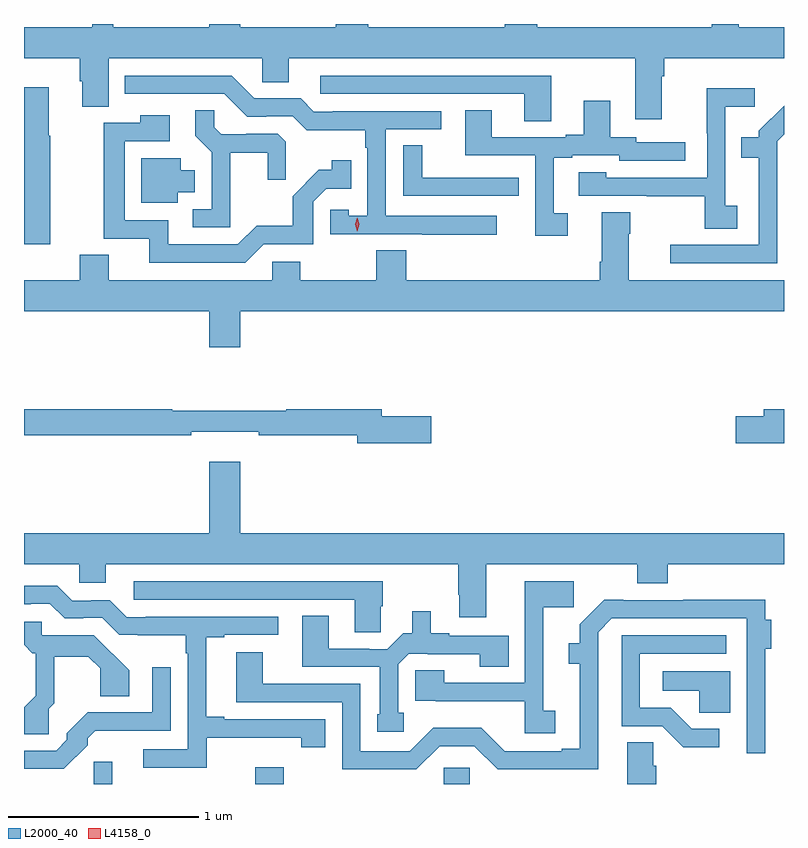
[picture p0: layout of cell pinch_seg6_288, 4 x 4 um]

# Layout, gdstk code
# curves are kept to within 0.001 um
import gdstk
lib = gdstk.Library(unit=1e-6, precision=1e-09)
def R(c, l, rs):  # rectangles x0, y0, x1, y1
    for r in rs: c.add(gdstk.rectangle(r[:2], r[2:], *l))
def P(c, l, *ps):  # polygons
    for p in ps: c.add(gdstk.Polygon(p, *l))
L2000_40 = (2000, 40)
L4158_0 = (4158, 0)

pinch_seg6_288 = lib.new_cell('pinch_seg6_288')
R(pinch_seg6_288, L2000_40, [(787.777,992.8,787.873,992.918), (788.627,992.8,788.775,992.887), (789.618,992.8,789.756,992.886)])
P(pinch_seg6_288, L2000_40, [(790.765,996.524),(790.778,996.524),(790.778,996.62),(791.409,996.62),(791.409,996.784),(791.17,996.784),(791.17,996.8),(791.03,996.8),(791.03,996.784),(790.109,996.784),(790.109,996.8),(789.938,996.8),(789.938,996.784),(789.221,996.784),(789.221,996.8),(789.05,996.8),(789.05,996.784),(788.548,996.784),(788.548,996.8),(788.384,996.8),(788.384,996.784),(787.879,996.784),(787.879,996.8),(787.769,996.8),(787.769,996.784),(787.409,996.784),(787.409,996.62),(787.703,996.62),(787.703,996.498),(787.715,996.498),(787.715,996.364),(787.855,996.364),(787.855,996.62),(788.664,996.62),(788.664,996.493),(788.803,996.493),(788.803,996.62),(790.625,996.62),(790.625,996.3),(790.765,996.3)],
  [(790.183,996.528),(788.967,996.528),(788.967,996.432),(790.043,996.432),(790.043,996.289),(790.183,996.289)],
  [(789.898,995.79),(789.312,995.79),(789.312,996.246),(789.604,996.246),(789.604,996.342),(789.034,996.342),(789.034,996.339),(788.934,996.339),(788.865,996.408),(788.622,996.408),(788.502,996.528),(787.94,996.528),(787.94,996.432),(788.463,996.432),(788.583,996.312),(788.684,996.312),(788.684,996.315),(788.823,996.315),(788.896,996.242),(789.204,996.242),(789.204,996.149),(789.216,996.149),(789.216,995.791),(789.117,995.791),(789.117,995.823),(789.021,995.823),(789.021,995.694),(789.505,995.694),(789.505,995.692),(789.898,995.692)],
  [(787.548,996.213),(787.54,996.213),(787.54,996.466),(787.409,996.466),(787.409,995.64),(787.548,995.64)],
  [(791.164,995.844),(791.1,995.844),(791.1,996.365),(791.254,996.365),(791.254,996.463),(791.002,996.463),(791.002,996.224),(791.004,996.224),(791.004,995.991),(790.473,995.991),(790.473,996.019),(790.329,996.019),(790.329,995.895),(790.687,995.895),(790.687,995.893),(790.992,995.893),(790.992,995.722),(791.164,995.722)],
  [(790.27,995.805),(790.198,995.805),(790.198,996.096),(790.294,996.096),(790.294,996.108),(790.542,996.108),(790.542,996.081),(790.888,996.081),(790.888,996.177),(790.632,996.177),(790.632,996.204),(790.495,996.204),(790.495,996.397),(790.355,996.397),(790.355,996.217),(790.259,996.217),(790.259,996.204),(789.871,996.204),(789.871,996.347),(789.731,996.347),(789.731,996.108),(790.101,996.108),(790.101,995.685),(790.27,995.685)],
  [(791.373,996.183),(791.409,996.219),(791.409,996.369),(791.277,996.237),(791.277,996.205),(791.185,996.205),(791.185,996.096),(791.276,996.096),(791.276,995.637),(790.809,995.637),(790.809,995.541),(791.373,995.541)],
  [(788.495,996.122),(788.692,996.122),(788.692,995.979),(788.786,995.979),(788.786,996.181),(788.745,996.222),(788.58,996.222),(788.58,996.219),(788.446,996.219),(788.409,996.256),(788.409,996.347),(788.311,996.347),(788.311,996.211),(788.397,996.125),(788.397,995.826),(788.298,995.826),(788.298,995.73),(788.495,995.73)],
  [(788.67,995.64),(788.931,995.64),(788.931,995.865),(789,995.934),(789.131,995.934),(789.131,996.082),(789.03,996.082),(789.03,996.032),(788.96,996.032),(788.823,995.894),(788.823,995.739),(788.634,995.739),(788.535,995.64),(788.167,995.64),(788.167,995.766),(787.938,995.766),(787.938,996.183),(788.176,996.183),(788.176,996.319),(788.02,996.319),(788.02,996.279),(787.83,996.279),(787.83,995.67),(788.069,995.67),(788.069,995.544),(788.574,995.544)],
  [(790.012,995.99),(789.899,995.99),(789.899,995.991),(789.504,995.991),(789.504,996.161),(789.405,996.161),(789.405,995.895),(790.012,995.895)],
  [(788.218,995.915),(788.308,995.915),(788.308,996.031),(788.233,996.031),(788.233,996.094),(788.027,996.094),(788.027,995.858),(788.218,995.858)],
  [(790.591,995.696),(790.599,995.696),(790.599,995.809),(790.451,995.809),(790.451,995.548),(790.439,995.548),(790.439,995.452),(789.422,995.452),(789.422,995.609),(789.262,995.609),(789.262,995.452),(788.862,995.452),(788.862,995.55),(788.715,995.55),(788.715,995.452),(787.855,995.452),(787.855,995.585),(787.703,995.585),(787.703,995.452),(787.409,995.452),(787.409,995.288),(788.384,995.288),(788.384,995.1),(788.548,995.1),(788.548,995.288),(791.409,995.288),(791.409,995.452),(790.591,995.452)],
  [(789.553,994.736),(789.292,994.736),(789.292,994.772),(788.788,994.772),(788.788,994.765),(788.188,994.765),(788.188,994.772),(787.409,994.772),(787.409,994.636),(788.288,994.636),(788.288,994.655),(788.644,994.655),(788.644,994.636),(789.164,994.636),(789.164,994.594),(789.553,994.594)],
  [(791.409,994.772),(791.303,994.772),(791.303,994.736),(791.154,994.736),(791.154,994.594),(791.409,994.594)],
  [(789.841,993.956),(790.636,993.956),(790.636,993.857),(790.796,993.857),(790.796,993.956),(791.409,993.956),(791.409,994.12),(788.548,994.12),(788.548,994.495),(788.384,994.495),(788.384,994.12),(787.409,994.12),(787.409,993.956),(787.701,993.956),(787.701,993.858),(787.84,993.858),(787.84,993.956),(789.694,993.956),(789.694,993.796),(789.701,993.796),(789.701,993.678),(789.841,993.678)],
  [(790.204,993.186),(790.141,993.186),(790.141,993.729),(790.302,993.729),(790.302,993.868),(790.044,993.868),(790.044,993.333),(789.621,993.333),(789.621,993.398),(789.467,993.398),(789.467,993.237),(789.577,993.237),(789.577,993.236),(790.044,993.236),(790.044,993.066),(790.204,993.066)],
  [(789.287,993.735),(789.297,993.735),(789.297,993.867),(787.986,993.867),(787.986,993.771),(789.149,993.771),(789.149,993.598),(789.287,993.598)],
  [(788.372,993.044),(788.867,993.044),(788.867,992.994),(788.995,992.994),(788.995,993.141),(788.464,993.141),(788.464,993.154),(788.368,993.154),(788.368,993.573),(788.464,993.573),(788.464,993.585),(788.746,993.585),(788.746,993.681),(788.05,993.681),(788.05,993.678),(787.95,993.678),(787.86,993.768),(787.763,993.768),(787.763,993.765),(787.662,993.765),(787.583,993.844),(787.409,993.844),(787.409,993.747),(787.445,993.747),(787.445,993.75),(787.545,993.75),(787.623,993.672),(787.721,993.672),(787.721,993.675),(787.821,993.675),(787.911,993.585),(788.008,993.585),(788.008,993.582),(788.259,993.582),(788.259,993.488),(788.271,993.488),(788.271,992.982),(788.037,992.982),(788.037,992.886),(788.372,992.886)],
  [(789.597,993),(789.78,993),(789.903,992.877),(790.431,992.877),(790.431,993.6),(790.503,993.672),(791.214,993.672),(791.214,992.961),(791.31,992.961),(791.31,993.512),(791.341,993.512),(791.341,993.664),(791.31,993.664),(791.31,993.77),(790.879,993.77),(790.879,993.768),(790.564,993.768),(790.564,993.77),(790.463,993.77),(790.334,993.64),(790.334,993.542),(790.277,993.542),(790.277,993.432),(790.334,993.432),(790.334,992.986),(790.238,992.986),(790.238,992.973),(789.94,992.973),(789.816,993.097),(789.562,993.097),(789.438,992.973),(789.18,992.973),(789.18,993.327),(788.665,993.327),(788.665,993.493),(788.525,993.493),(788.525,993.231),(789.084,993.231),(789.084,992.877),(789.474,992.877)],
  [(789.408,993.174),(789.378,993.174),(789.378,993.429),(789.435,993.486),(789.535,993.486),(789.535,993.483),(789.808,993.483),(789.808,993.418),(789.959,993.418),(789.959,993.579),(789.646,993.579),(789.646,993.594),(789.55,993.594),(789.55,993.709),(789.452,993.709),(789.452,993.594),(789.405,993.594),(789.321,993.51),(789.227,993.51),(789.227,993.513),(789.013,993.513),(789.013,993.686),(788.873,993.686),(788.873,993.417),(789.282,993.417),(789.282,993.168),(789.269,993.168),(789.269,993.075),(789.408,993.075)],
  [(787.539,993.197),(787.568,993.226),(787.568,993.471),(787.747,993.471),(787.809,993.41),(787.809,993.262),(787.963,993.262),(787.963,993.398),(787.777,993.582),(787.503,993.582),(787.503,993.654),(787.409,993.654),(787.409,993.532),(787.452,993.489),(787.47,993.489),(787.47,993.264),(787.409,993.203),(787.409,993.063),(787.539,993.063)],
  [(791.068,993.09),(790.923,993.09),(790.812,993.201),(790.65,993.201),(790.65,993.486),(791.104,993.486),(791.104,993.582),(790.554,993.582),(790.554,993.105),(790.767,993.105),(790.88,992.993),(791.068,992.993)],
  [(787.744,993.005),(787.744,993.04),(787.784,993.08),(788.181,993.081),(788.181,993.415),(788.085,993.415),(788.085,993.177),(787.745,993.177),(787.635,993.067),(787.635,993.033),(787.578,992.976),(787.409,992.976),(787.409,992.88),(787.618,992.88)],
  [(791.125,993.394),(790.77,993.394),(790.77,993.29),(790.962,993.29),(790.962,993.176),(791.125,993.176)],
  [(790.736,992.897),(790.722,992.897),(790.722,993.02),(790.583,993.02),(790.583,992.8),(790.736,992.8)])
P(pinch_seg6_288, L4158_0, [(789.162,995.709),(789.153,995.745),(789.162,995.781),(789.163,995.781),(789.163,995.781),(789.173,995.745),(789.163,995.709),(789.163,995.709)])

lib.write_gds('pinch_seg6_288.gds')
